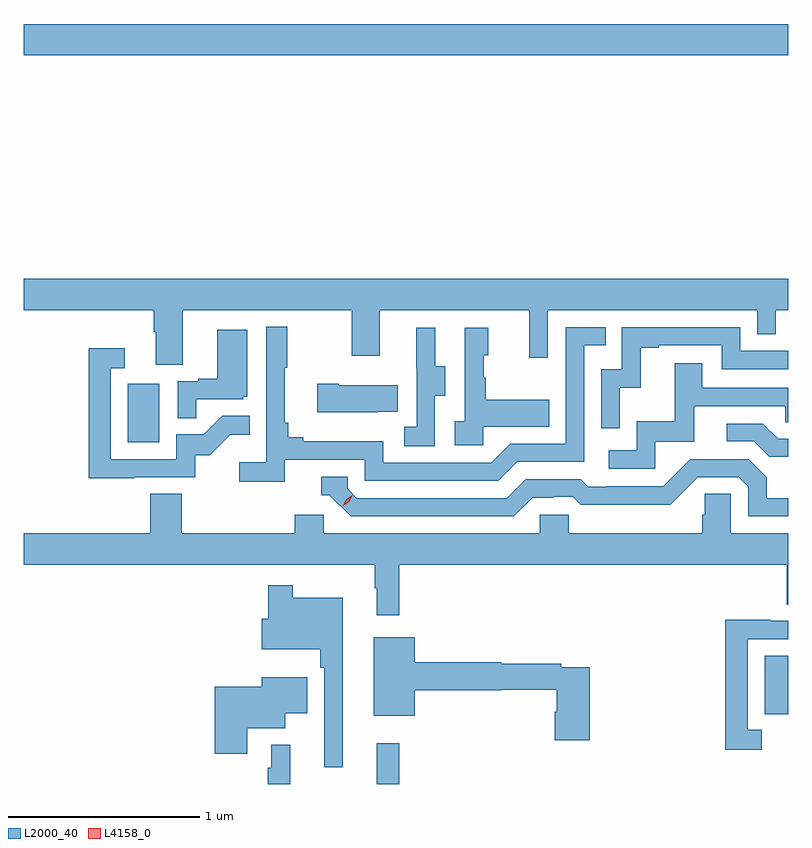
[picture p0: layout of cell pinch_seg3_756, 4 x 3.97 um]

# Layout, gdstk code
import gdstk
lib = gdstk.Library(unit=1e-6, precision=1e-09)
def R(c, l, rs):  # rectangles x0, y0, x1, y1
    for r in rs: c.add(gdstk.rectangle(r[:2], r[2:], *l))
def P(c, l, *ps):  # polygons
    for p in ps: c.add(gdstk.Polygon(p, *l))
L2000_40 = (2000, 40)
L4158_0 = (4158, 0)

pinch_seg3_756 = lib.new_cell('pinch_seg3_756')
R(pinch_seg3_756, L2000_40, [(831.734,737.066,831.851,737.278), (833.762,737.43,833.887,737.737), (830.432,738.852,830.596,739.159), (829.887,740.876,833.887,741.04)])
P(pinch_seg3_756, L2000_40, [(830.719,739.544),(831.604,739.544),(831.604,739.305),(831.751,739.305),(831.751,739.544),(832.532,739.544),(832.532,739.296),(832.629,739.296),(832.629,739.544),(833.724,739.544),(833.724,739.417),(833.82,739.417),(833.82,739.544),(833.887,739.544),(833.887,739.708),(829.887,739.708),(829.887,739.544),(830.567,739.544),(830.567,739.432),(830.579,739.432),(830.579,739.258),(830.719,739.258)],
  [(831.254,738.762),(831.672,738.762),(831.672,738.651),(832.369,738.651),(832.468,738.75),(832.818,738.75),(832.818,739.359),(832.931,739.359),(832.931,739.455),(832.722,739.455),(832.722,738.846),(832.431,738.846),(832.332,738.747),(831.768,738.747),(831.768,738.859),(831.349,738.859),(831.349,738.878),(831.272,738.878),(831.272,738.955),(831.253,738.955),(831.253,739.243),(831.265,739.243),(831.265,739.456),(831.156,739.456),(831.156,738.748),(831.015,738.748),(831.015,738.646),(831.254,738.646)],
  [(833.004,739.139),(833.114,739.139),(833.114,739.347),(833.209,739.347),(833.209,739.359),(833.538,739.359),(833.538,739.236),(833.887,739.236),(833.887,739.332),(833.634,739.332),(833.634,739.455),(833.016,739.455),(833.016,739.236),(832.908,739.236),(832.908,738.927),(833.004,738.927)],
  [(832.038,739.096),(832.093,739.096),(832.093,739.251),(832.039,739.251),(832.039,739.453),(831.941,739.453),(831.941,739.239),(831.942,739.239),(831.942,738.935),(831.879,738.935),(831.879,738.832),(832.038,738.832)],
  [(832.29,738.935),(832.637,738.935),(832.637,739.075),(832.303,739.075),(832.303,739.19),(832.293,739.19),(832.293,739.308),(832.318,739.308),(832.318,739.453),(832.194,739.453),(832.194,738.962),(832.143,738.962),(832.143,738.837),(832.29,738.837)],
  [(830.789,739.077),(831.036,739.077),(831.036,739.092),(831.058,739.092),(831.058,739.441),(830.9,739.441),(830.9,739.186),(830.801,739.186),(830.801,739.173),(830.694,739.173),(830.694,738.979),(830.789,738.979)],
  [(830.465,738.669),(830.784,738.669),(830.784,738.786),(830.86,738.786),(830.967,738.893),(831.071,738.893),(831.071,738.992),(830.927,738.992),(830.829,738.894),(830.685,738.894),(830.685,738.765),(830.343,738.765),(830.343,739.239),(830.416,739.239),(830.416,739.345),(830.227,739.345),(830.227,738.664),(830.465,738.664)],
  [(833.19,738.855),(833.395,738.855),(833.395,739.041),(833.869,739.041),(833.869,738.957),(833.887,738.957),(833.887,739.137),(833.437,739.137),(833.437,739.267),(833.293,739.267),(833.293,738.964),(833.094,738.964),(833.094,738.81),(832.947,738.81),(832.947,738.714),(833.19,738.714)],
  [(831.737,739.013),(831.845,739.013),(831.845,739.15),(831.535,739.15),(831.535,739.158),(831.423,739.158),(831.423,739.01),(831.737,739.01)],
  [(833.887,738.87),(833.833,738.87),(833.752,738.951),(833.565,738.951),(833.565,738.858),(833.706,738.858),(833.786,738.778),(833.887,738.778)],
  [(832.549,738.564),(832.656,738.564),(832.656,738.567),(832.759,738.567),(832.801,738.525),(833.034,738.525),(833.034,738.527),(833.27,738.527),(833.412,738.669),(833.628,738.669),(833.676,738.621),(833.676,738.465),(833.887,738.465),(833.887,738.561),(833.773,738.561),(833.773,738.671),(833.679,738.765),(833.373,738.765),(833.232,738.624),(832.939,738.624),(832.939,738.621),(832.84,738.621),(832.801,738.66),(832.512,738.66),(832.413,738.561),(831.63,738.561),(831.582,738.609),(831.582,738.672),(831.443,738.672),(831.443,738.576),(831.486,738.576),(831.597,738.465),(832.45,738.465)],
  [(831.851,738.212),(833.879,738.212),(833.879,738.004),(833.887,738.004),(833.887,738.376),(833.586,738.376),(833.586,738.584),(833.449,738.584),(833.449,738.474),(833.435,738.474),(833.435,738.376),(832.737,738.376),(832.737,738.474),(832.587,738.474),(832.587,738.376),(831.456,738.376),(831.456,738.474),(831.305,738.474),(831.305,738.376),(830.714,738.376),(830.714,738.584),(830.549,738.584),(830.549,738.376),(829.887,738.376),(829.887,738.212),(831.723,738.212),(831.723,738.089),(831.734,738.089),(831.734,737.949),(831.851,737.949)],
  [(831.556,738.04),(831.295,738.04),(831.295,738.106),(831.166,738.106),(831.166,737.929),(831.132,737.929),(831.132,737.771),(831.439,737.771),(831.439,737.675),(831.459,737.675),(831.459,737.154),(831.556,737.154)],
  [(833.746,737.349),(833.673,737.349),(833.673,737.823),(833.887,737.823),(833.887,737.919),(833.795,737.919),(833.795,737.924),(833.557,737.924),(833.557,737.244),(833.746,737.244)],
  [(832.847,737.676),(832.7,737.676),(832.7,737.696),(832.386,737.696),(832.386,737.702),(831.934,737.702),(831.934,737.833),(831.719,737.833),(831.719,737.423),(831.934,737.423),(831.934,737.555),(832.386,737.555),(832.386,737.56),(832.676,737.56),(832.676,737.445),(832.664,737.445),(832.664,737.295),(832.847,737.295)],
  [(831.058,737.357),(831.256,737.357),(831.256,737.435),(831.37,737.435),(831.37,737.623),(831.134,737.623),(831.134,737.575),(830.888,737.575),(830.888,737.223),(831.058,737.223)],
  [(831.281,737.272),(831.183,737.272),(831.183,737.151),(831.163,737.151),(831.163,737.066),(831.281,737.066)])
P(pinch_seg3_756, L4158_0, [(831.559,738.522),(831.559,738.523),(831.575,738.555),(831.606,738.575),(831.606,738.575),(831.606,738.575),(831.59,738.542),(831.559,738.522)])

lib.write_gds('pinch_seg3_756.gds')
